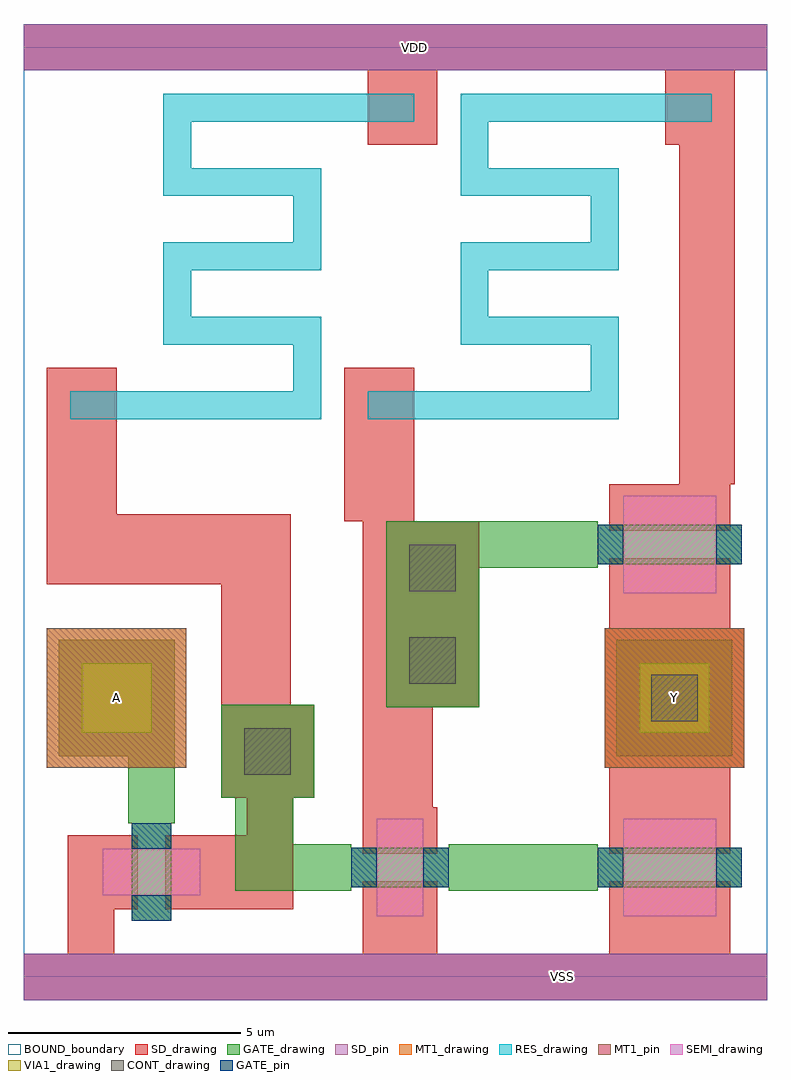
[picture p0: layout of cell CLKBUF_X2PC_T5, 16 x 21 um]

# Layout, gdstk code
from math import pi, radians
import gdstk
lib = gdstk.Library(unit=1e-6, precision=1e-09)
def R(c, l, rs):  # rectangles x0, y0, x1, y1
    for r in rs: c.add(gdstk.rectangle(r[:2], r[2:], *l))
def A(c, l, x, y, w, h, nx, ny, dx, dy):  # array of equal rectangles
    R(c, l, [(x+i*dx, y+j*dy, x+i*dx+w, y+j*dy+h) for i in range(nx) for j in range(ny)])
def P(c, l, *ps):  # polygons
    for p in ps: c.add(gdstk.Polygon(p, *l))
RES_drawing = (1, 0)
SEMI_drawing = (3, 0)
SD_drawing = (10, 0)
SD_pin = (10, 3)
GATE_drawing = (11, 0)
GATE_pin = (11, 3)
MT1_drawing = (20, 0)
MT1_pin = (20, 3)
CONT_drawing = (30, 0)
VIA1_drawing = (41, 0)
BOUND_boundary = (150, 5)

nch_cdns_772544864670 = lib.new_cell('nch_CDNS_772544864670')
R(nch_cdns_772544864670, SEMI_drawing, [(-1.05,-1,1.05,1)])
R(nch_cdns_772544864670, SD_drawing, [(-1.3,-1.3,-0.3,1.3), (0.3,-1.3,1.3,1.3)])
R(nch_cdns_772544864670, GATE_drawing, [(-0.425,-1.55,0.425,1.55)])
R(nch_cdns_772544864670, GATE_pin, [(-0.425,-1.55,0.425,-1), (-0.425,1,0.425,1.55)])

res_cdns_772544864671 = lib.new_cell('res_CDNS_772544864671')
A(res_cdns_772544864671, RES_drawing, -3.5, -1.7, 0.6, 3.4, 5, 1, 1.6, 0)
R(res_cdns_772544864671, RES_drawing, [(2.9,-3.7,3.5,-1.7), (-2.9,-1.7,-1.9,-1.1), (0.3,-1.7,1.3,-1.1), (-1.3,1.1,-0.3,1.7), (1.9,1.1,2.9,1.7), (-3.5,1.7,-2.9,3.7)])
R(res_cdns_772544864671, SD_drawing, [(2.4,-4.2,4,-2.7), (-4,2.7,-2.4,4.2)])

res_cdns_772544864672 = lib.new_cell('res_CDNS_772544864672')
A(res_cdns_772544864672, RES_drawing, -3.5, -1.7, 0.6, 3.4, 5, 1, 1.6, 0)
R(res_cdns_772544864672, RES_drawing, [(2.9,-3.7,3.5,-1.7), (-2.9,-1.7,-1.9,-1.1), (0.3,-1.7,1.3,-1.1), (-1.3,1.1,-0.3,1.7), (1.9,1.1,2.9,1.7), (-3.5,1.7,-2.9,3.7)])
R(res_cdns_772544864672, SD_drawing, [(2.4,-4.2,4,-2.7), (-4,2.7,-2.4,4.2)])

nch_cdns_772544864673 = lib.new_cell('nch_CDNS_772544864673')
R(nch_cdns_772544864673, SEMI_drawing, [(-1.05,-0.5,1.05,0.5)])
R(nch_cdns_772544864673, SD_drawing, [(-1.3,-0.8,-0.3,0.8), (0.3,-0.8,1.3,0.8)])
R(nch_cdns_772544864673, GATE_drawing, [(-0.425,-1.05,0.425,1.05)])
R(nch_cdns_772544864673, GATE_pin, [(-0.425,-1.05,0.425,-0.5), (-0.425,0.5,0.425,1.05)])

gate_mt1_cdns_7725448646 = lib.new_cell('GATE_MT1_CDNS_772544864670')
R(gate_mt1_cdns_7725448646, GATE_drawing, [(-1.25,-1.25,1.25,1.25)])
R(gate_mt1_cdns_7725448646, MT1_drawing, [(-1.25,-1.25,1.25,1.25)])
R(gate_mt1_cdns_7725448646, VIA1_drawing, [(-0.75,-0.75,0.75,0.75)])

sd_gate_cdns_77254486467 = lib.new_cell('SD_GATE_CDNS_772544864671')
R(sd_gate_cdns_77254486467, SD_drawing, [(-1,-1,1,1)])
R(sd_gate_cdns_77254486467, GATE_drawing, [(-1,-1,1,1)])
R(sd_gate_cdns_77254486467, CONT_drawing, [(-0.5,-0.5,0.5,0.5)])

c_sd_gate_cdns_77254486467 = lib.new_cell('SD_GATE_CDNS_772544864672')
R(c_sd_gate_cdns_77254486467, SD_drawing, [(-2,-1,2,1)])
R(c_sd_gate_cdns_77254486467, GATE_drawing, [(-2,-1,2,1)])
R(c_sd_gate_cdns_77254486467, CONT_drawing, [(-1.5,-0.5,-0.5,0.5), (0.5,-0.5,1.5,0.5)])

clkbuf_x2pc_t5 = lib.new_cell('CLKBUF_X2PC_T5')
R(clkbuf_x2pc_t5, SD_drawing, [(12.5,4.5,15.5,7.5)])
R(clkbuf_x2pc_t5, SD_pin, [(0,-0.5,16,0.5), (0,19.5,16,20.5)])
P(clkbuf_x2pc_t5, GATE_drawing, [(3.25,3.4),(2.25,3.4),(2.25,3.3),(2.375,3.3),(2.375,3.25),(3.125,3.25),(3.125,3.3),(3.25,3.3)],
  [(6.95,2.85),(6.95,1.85),(7.05,1.85),(7.05,1.975),(7.1,1.975),(7.1,2.725),(7.05,2.725),(7.05,2.85)],
  [(9.25,2.85),(9.25,1.85),(9.15,1.85),(9.15,1.975),(9.1,1.975),(9.1,2.725),(9.15,2.725),(9.15,2.85)],
  [(12.25,2.85),(12.25,1.85),(12.35,1.85),(12.35,1.975),(12.4,1.975),(12.4,2.725),(12.35,2.725),(12.35,2.85)],
  [(12.25,9.8),(12.25,8.8),(12.35,8.8),(12.35,8.925),(12.4,8.925),(12.4,9.675),(12.35,9.675),(12.35,9.8)])
R(clkbuf_x2pc_t5, MT1_drawing, [(0.5,4.5,3.5,7.5), (12.5,4.5,15.5,7.5)])
R(clkbuf_x2pc_t5, MT1_pin, [(0.5,4.5,3.5,7.5), (12.5,4.5,15.5,7.5)])
R(clkbuf_x2pc_t5, BOUND_boundary, [(0,0,16,20)])
clkbuf_x2pc_t5.add(gdstk.FlexPath([(5.3,2.35),(5.05,2.35)], 1, ends="extended", simple_path=True, layer=11, datatype=0))  # GATE_drawing
clkbuf_x2pc_t5.add(gdstk.FlexPath([(5.05,2.35),(5.05,4)], 1, ends=(0.5, 0), simple_path=True, layer=11, datatype=0))  # GATE_drawing
clkbuf_x2pc_t5.add(gdstk.FlexPath([(2.75,3.4),(2.75,6)], 1, ends=(0, 0.5), simple_path=True, layer=11, datatype=0))  # GATE_drawing
clkbuf_x2pc_t5.add(gdstk.FlexPath([(2.75,6),(2,6)], 1, ends=(0.5, 0), simple_path=True, layer=11, datatype=0))  # GATE_drawing
clkbuf_x2pc_t5.add(gdstk.FlexPath([(6.95,2.35),(5.3,2.35)], 1, ends=(0, 0.5), simple_path=True, layer=11, datatype=0))  # GATE_drawing
clkbuf_x2pc_t5.add(gdstk.FlexPath([(5.3,2.35),(5.3,4)], 1, ends=(0.5, 0), simple_path=True, layer=11, datatype=0))  # GATE_drawing
clkbuf_x2pc_t5.add(gdstk.FlexPath([(9.25,2.35),(12.35,2.35)], 1, ends="flush", simple_path=True, layer=11, datatype=0))  # GATE_drawing
clkbuf_x2pc_t5.add(gdstk.FlexPath([(12.35,9.3),(9.75,9.3)], 1, ends="flush", simple_path=True, layer=11, datatype=0))  # GATE_drawing
clkbuf_x2pc_t5.add(gdstk.FlexPath([(4.05,2.35),(5.3,2.35)], 1.4, ends=(0, 0.5), simple_path=True, layer=10, datatype=0))  # SD_drawing
clkbuf_x2pc_t5.add(gdstk.FlexPath([(16,20),(14.7,20)], 1, ends=(0, 0.6), simple_path=True, layer=10, datatype=0))  # SD_drawing
clkbuf_x2pc_t5.add(gdstk.FlexPath([(7.65,9.8),(7.65,13.1)], 1.5, ends="flush", simple_path=True, layer=10, datatype=0))  # SD_drawing
clkbuf_x2pc_t5.add(gdstk.FlexPath([(1.25,9.2),(1.25,13.1)], 1.5, ends=(0.75, 0), simple_path=True, layer=10, datatype=0))  # SD_drawing
clkbuf_x2pc_t5.add(gdstk.FlexPath([(5,9.2),(1.25,9.2)], 1.5, ends="extended", simple_path=True, layer=10, datatype=0))  # SD_drawing
clkbuf_x2pc_t5.add(gdstk.FlexPath([(5,4.35),(5,9.2)], 1.5, ends=(0, 0.75), simple_path=True, layer=10, datatype=0))  # SD_drawing
clkbuf_x2pc_t5.add(gdstk.FlexPath([(8.1,0),(13.9,0)], 1, ends=(0.8, 1.3), simple_path=True, layer=10, datatype=0))  # SD_drawing
clkbuf_x2pc_t5.add(gdstk.FlexPath([(1.45,3.05),(1.45,0)], 1, ends=(0, 0.5), simple_path=True, layer=10, datatype=0))  # SD_drawing
clkbuf_x2pc_t5.add(gdstk.FlexPath([(5.3,2.35),(5.3,4)], 1, ends=(0.7, 0), simple_path=True, layer=10, datatype=0))  # SD_drawing
clkbuf_x2pc_t5.add(gdstk.FlexPath([(4.05,2.15),(5.3,2.15)], 1.4, ends=(0, 0.5), simple_path=True, layer=10, datatype=0))  # SD_drawing
clkbuf_x2pc_t5.add(gdstk.FlexPath([(8.1,1.2),(8.1,0)], 1.6, ends=(0, 0.5), simple_path=True, layer=10, datatype=0))  # SD_drawing
clkbuf_x2pc_t5.add(gdstk.FlexPath([(1.45,0),(8.1,0)], 1, ends=(0.5, 0.8), simple_path=True, layer=10, datatype=0))  # SD_drawing
clkbuf_x2pc_t5.add(gdstk.FlexPath([(13.9,0),(16,0)], 1, ends=(1.3, 0), simple_path=True, layer=10, datatype=0))  # SD_drawing
clkbuf_x2pc_t5.add(gdstk.FlexPath([(13.9,1.2),(13.9,0)], 2.6, ends=(0, 0.5), simple_path=True, layer=10, datatype=0))  # SD_drawing
clkbuf_x2pc_t5.add(gdstk.FlexPath([(0,0),(1.45,0)], 1, ends=(0, 0.5), simple_path=True, layer=10, datatype=0))  # SD_drawing
clkbuf_x2pc_t5.add(gdstk.FlexPath([(14.7,20),(0,20)], 1, ends=(0.6, 0), simple_path=True, layer=10, datatype=0))  # SD_drawing
clkbuf_x2pc_t5.add(gdstk.FlexPath([(8.3,3.65),(8.3,9.8)], 1, ends="flush", simple_path=True, layer=10, datatype=0))  # SD_drawing
clkbuf_x2pc_t5.add(gdstk.FlexPath([(13.9,3.65),(13.9,8.2)], 2.6, ends="flush", simple_path=True, layer=10, datatype=0))  # SD_drawing
clkbuf_x2pc_t5.add(gdstk.FlexPath([(14.7,10.6),(14.7,20)], 1.2, ends=(0, 0.5), simple_path=True, layer=10, datatype=0))  # SD_drawing
clkbuf_x2pc_t5.add(gdstk.FlexPath([(7.8,3.65),(7.8,9.8)], 1, ends="flush", simple_path=True, layer=10, datatype=0))  # SD_drawing
clkbuf_x2pc_t5.add(gdstk.Reference(nch_cdns_772544864670, (13.9,2.35), rotation=pi/2))
clkbuf_x2pc_t5.add(gdstk.Reference(nch_cdns_772544864670, (13.9,9.3), rotation=pi/2))
clkbuf_x2pc_t5.add(gdstk.Reference(res_cdns_772544864671, (11.1,15.5), rotation=3*pi/2))
clkbuf_x2pc_t5.add(gdstk.Reference(res_cdns_772544864672, (4.7,15.5), rotation=3*pi/2))
clkbuf_x2pc_t5.add(gdstk.Reference(nch_cdns_772544864673, (8.1,2.35), rotation=pi/2))
clkbuf_x2pc_t5.add(gdstk.Reference(nch_cdns_772544864673, (2.75,2.25)))
clkbuf_x2pc_t5.add(gdstk.Reference(gate_mt1_cdns_7725448646, (14,6)))
clkbuf_x2pc_t5.add(gdstk.Reference(gate_mt1_cdns_7725448646, (2,6)))
clkbuf_x2pc_t5.add(gdstk.Reference(sd_gate_cdns_77254486467, (14,6)))
clkbuf_x2pc_t5.add(gdstk.Reference(sd_gate_cdns_77254486467, (5.25,4.85)))
clkbuf_x2pc_t5.add(gdstk.Reference(c_sd_gate_cdns_77254486467, (8.8,7.8), rotation=pi/2))
clkbuf_x2pc_t5.add(gdstk.Label('A', (2,6), layer=20, texttype=3))
clkbuf_x2pc_t5.add(gdstk.Label('Y', (14,6), layer=20, texttype=3))
clkbuf_x2pc_t5.add(gdstk.Label('VDD', (8.4,20), layer=10, texttype=3))
clkbuf_x2pc_t5.add(gdstk.Label('VSS', (11.6,0), layer=10, texttype=3))

lib.write_gds('CLKBUF_X2PC_T5.gds')
